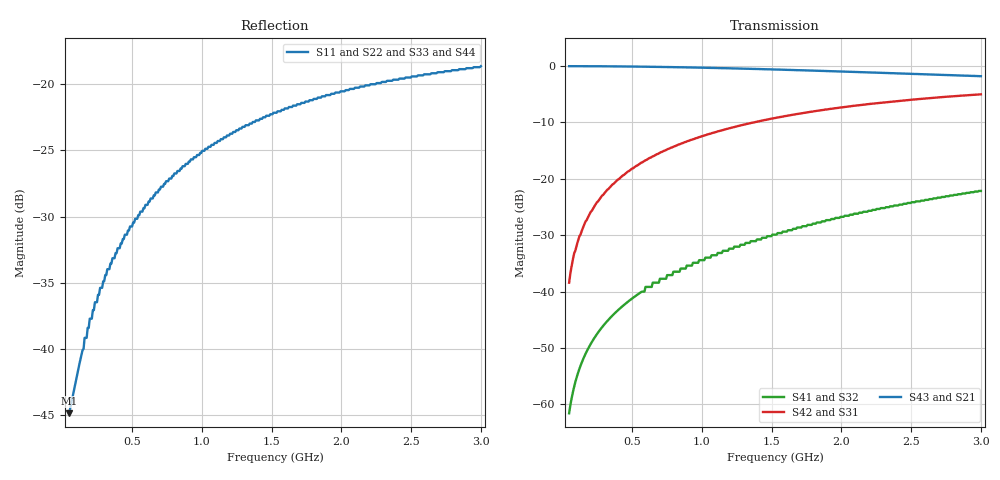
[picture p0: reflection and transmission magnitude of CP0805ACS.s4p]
!	AVX THIN FILM OPERATION
!	CP0805 COUPLERS
!	P/N CP0805AxxxxCSTR
!	Network	Analyzer HP8720ES.07.64:Feb23,2000 Serial No.US39172382
!	Hewlett-Packard
!	5 October 2009
# MHZ S MA R 50
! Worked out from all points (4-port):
!   400 points, 50 MHz to 3 GHz, reference 50 ohm
!   strongest paths, dB at 50 MHz, 789.3 MHz, 1.529 GHz, 2.268 GHz, 3 GHz:
!     S43: 0.0, -0.2, -0.6, -1.2, -1.8
!     S21: 0.0, -0.2, -0.6, -1.2, -1.8
!     S42: -38.4, -14.4, -9.2, -6.6, -5.0
!     S31: -38.4, -14.4, -9.2, -6.6, -5.0
!     S41: -61.6, -37.1, -29.9, -25.4, -22.2
!     S32: -61.6, -37.1, -29.9, -25.4, -22.2
!   lowest |S11| = -44.9 dB at 50 MHz (marker M1), VSWR 1.01, Z = 50.5 + j0.288 ohm
!   |S11| at or under -10 dB: start of sweep to end of sweep
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50  0.005706 30.0  0.995 -0.9  0.012 89.1  0.0008345 -93.3
    0.995 -0.9  0.005706 30.0  0.0008345 -93.3  0.012 89.1
    0.012 89.1  0.0008345 -93.3  0.005706 30.0  0.995 -0.9
    0.0008345 -93.3  0.012 89.1  0.995 -0.9  0.005706 30.0
123.935  0.008774 53.5  0.995 -2.1  0.031 87.8  0.002073 -98.1
         0.995 -2.1  0.008774 53.5  0.002073 -98.1  0.031 87.8
         0.031 87.8  0.002073 -98.1  0.008774 53.5  0.995 -2.1
         0.002073 -98.1  0.031 87.8  0.995 -2.1  0.008774 53.5
249.624  0.015 66.3  0.993 -4.3  0.062 85.6  0.004206 -106.3
         0.993 -4.3  0.015 66.3  0.004206 -106.3  0.062 85.6
         0.062 85.6  0.004206 -106.3  0.015 66.3  0.993 -4.3
         0.004206 -106.3  0.062 85.6  0.993 -4.3  0.015 66.3
449.248  0.027 70.0  0.989 -7.7  0.11 82.2  0.007732 -119.0
         0.989 -7.7  0.027 70.0  0.007732 -119.0  0.11 82.2
         0.11 82.2  0.007732 -119.0  0.027 70.0  0.989 -7.7
         0.007732 -119.0  0.11 82.2  0.989 -7.7  0.027 70.0
759.774  0.043 67.9  0.977 -12.9  0.184 76.9  0.014 -137.6
         0.977 -12.9  0.043 67.9  0.014 -137.6  0.184 76.9
         0.184 76.9  0.014 -137.6  0.043 67.9  0.977 -12.9
         0.014 -137.6  0.184 76.9  0.977 -12.9  0.043 67.9
1683.96  0.084 55.2  0.917 -27.4  0.375 62.4  0.037 178.1
         0.917 -27.4  0.084 55.2  0.037 178.1  0.375 62.4
         0.375 62.4  0.037 178.1  0.084 55.2  0.917 -27.4
         0.037 178.1  0.375 62.4  0.917 -27.4  0.084 55.2
3000  0.117 43.2  0.811 -44.4  0.56 45.5  0.078 137.1
      0.811 -44.4  0.117 43.2  0.078 137.1  0.56 45.5
      0.56 45.5  0.078 137.1  0.117 43.2  0.811 -44.4
      0.078 137.1  0.56 45.5  0.811 -44.4  0.117 43.2
